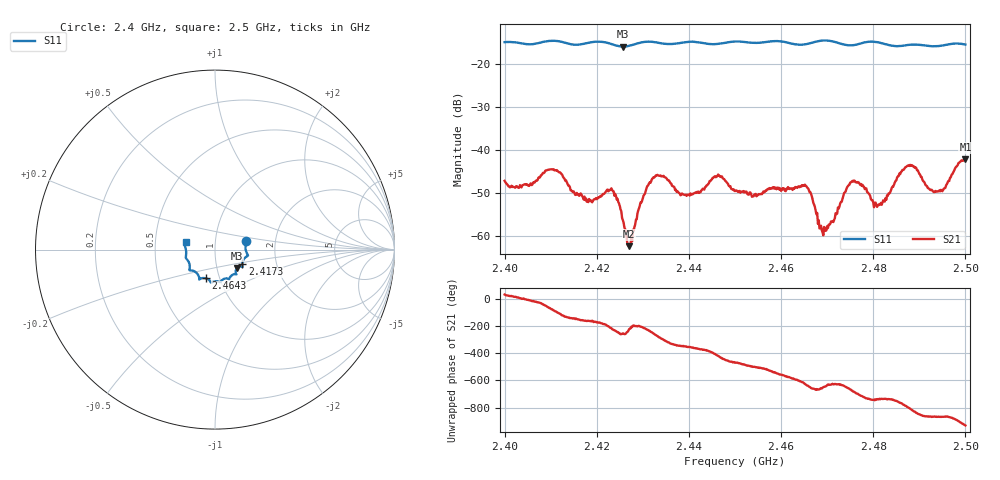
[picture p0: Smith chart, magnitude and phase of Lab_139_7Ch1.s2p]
# Hz S RI R 50
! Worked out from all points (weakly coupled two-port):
!   601 points, 2.4 GHz to 2.5 GHz, reference 50 ohm
!   highest |S21| = -42.12 dB at 2.5 GHz (marker M1); lowest = -62.3 dB at 2.427 GHz (marker M2)
!   lowest |S11| = -15.9 dB at 2.4257 GHz (marker M3), VSWR 1.38, Z = 62.4 - j13.1 ohm
!   |S11| at or under -10 dB: start of sweep to end of sweep
!   S12 and S22 are empty: the file has one direction only
!   S11 on the Smith chart (normalised r, x): 2.4 GHz: 1.41, +0.14; 2.4173 GHz: 1.34, -0.23; 2.4643 GHz: 0.86, -0.28; 2.5 GHz: 0.72, +0.06
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2.4e9  0.1732 0.0497  0.00372 0.00238  0 0  0 0
2.4055e9  0.17 0.0073  0.00393 -0.000797  0 0  0 0
2.4105e9  0.1838 -0.0335  0.000884 -0.00591  0 0  0 0
2.416667e9  0.1529 -0.0749  -0.00281 -0.00125  0 0  0 0
2.417333e9  0.1522 -0.0822  -0.00272 -0.000999  0 0  0 0
2.423167e9  0.144 -0.0933  -0.00295 0.0021  0 0  0 0
2.425667e9  0.1224 -0.1026  -0.000445 0.00148  0 0  0 0
2.427e9  0.1163 -0.1144  -0.00056 0.00053  0 0  0 0
2.430667e9  0.1189 -0.1376  -0.00258 0.00226  0 0  0 0
2.433333e9  0.1128 -0.1366  0.00067 0.00507  0 0  0 0
2.438667e9  0.0815 -0.1582  0.00304 0.000629  0 0  0 0
2.446167e9  0.0462 -0.1654  0.00273 -0.00418  0 0  0 0
2.45e9  0.0298 -0.1808  -0.00114 -0.00317  0 0  0 0
2.464333e9  -0.0501 -0.1603  -0.00139 0.00352  0 0  0 0
2.466667e9  -0.0762 -0.16  0.00141 0.00257  0 0  0 0
2.469333e9  -0.0876 -0.1666  0.000376 0.00123  0 0  0 0
2.4755e9  -0.1117 -0.1225  0.00319 0.00306  0 0  0 0
2.480667e9  -0.1425 -0.1111  0.00216 -0.000873  0 0  0 0
2.483333e9  -0.1407 -0.0894  0.00302 -0.000918  0 0  0 0
2.488e9  -0.1602 -0.0508  0.000247 -0.00677  0 0  0 0
2.494667e9  -0.1635 0.00666  -0.00299 -0.00177  0 0  0 0
2.5e9  -0.1635 0.0419  -0.00669 0.00409  0 0  0 0
